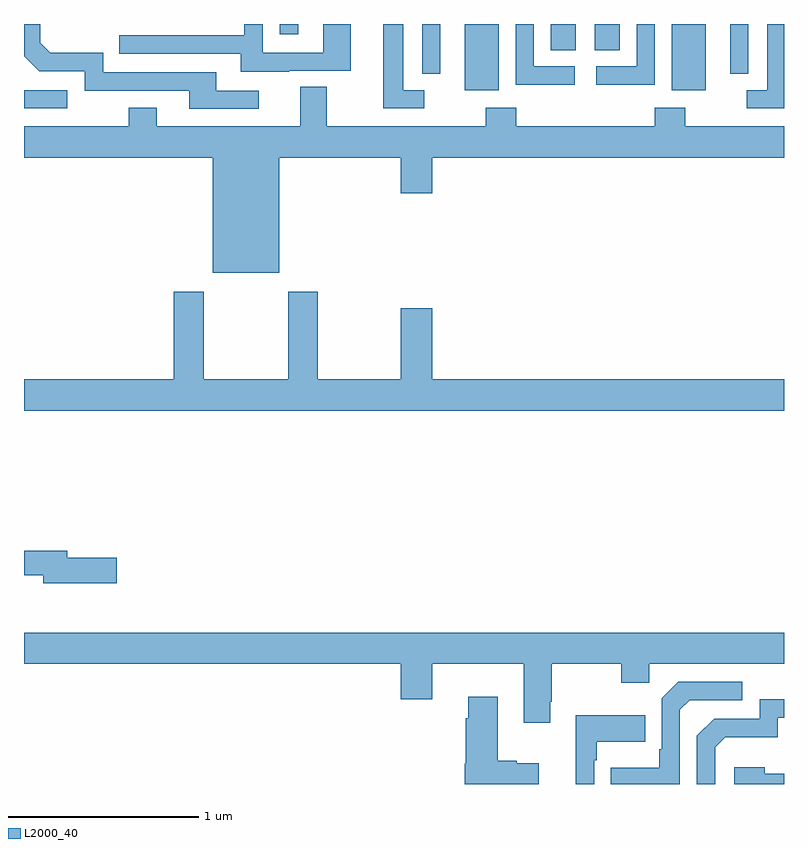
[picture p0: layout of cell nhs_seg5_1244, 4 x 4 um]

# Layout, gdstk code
import gdstk
lib = gdstk.Library(unit=1e-6, precision=1e-09)
def R(c, l, rs):  # rectangles x0, y0, x1, y1
    for r in rs: c.add(gdstk.rectangle(r[:2], r[2:], *l))
def P(c, l, *ps):  # polygons
    for p in ps: c.add(gdstk.Polygon(p, *l))
L2000_40 = (2000, 40)

nhs_seg5_1244 = lib.new_cell('nhs_seg5_1244')
R(nhs_seg5_1244, L2000_40, [(187,854.355,187.228,854.451), (189.32,854.45,189.499,854.799), (190.409,854.45,190.588,854.799), (189.773,854.662,189.904,854.799), (190.004,854.662,190.135,854.799), (188.346,854.745,188.443,854.799)])
P(nhs_seg5_1244, L2000_40, [(189.106,854.451),(188.995,854.451),(188.995,854.799),(188.891,854.799),(188.891,854.355),(189.106,854.355)],
  [(189.192,854.69),(189.191,854.69),(189.191,854.799),(189.096,854.799),(189.096,854.536),(189.192,854.536)],
  [(188.395,854.553),(188.719,854.553),(188.719,854.799),(188.574,854.799),(188.574,854.649),(188.256,854.649),(188.256,854.799),(188.16,854.799),(188.16,854.739),(187.501,854.739),(187.501,854.643),(188.141,854.643),(188.141,854.549),(188.395,854.549)],
  [(190.812,854.799),(190.718,854.799),(190.718,854.69),(190.716,854.69),(190.716,854.536),(190.812,854.536)],
  [(190.32,854.799),(190.224,854.799),(190.224,854.577),(190.011,854.577),(190.011,854.479),(190.32,854.479)],
  [(189.898,854.577),(189.684,854.577),(189.684,854.799),(189.588,854.799),(189.588,854.479),(189.898,854.479)],
  [(188.236,854.448),(188.011,854.448),(188.011,854.544),(187.416,854.544),(187.416,854.647),(187.139,854.647),(187.086,854.7),(187.086,854.799),(187,854.799),(187,854.63),(187.08,854.55),(187.32,854.55),(187.32,854.448),(187.871,854.448),(187.871,854.352),(188.236,854.352)],
  [(191,854.799),(190.913,854.799),(190.913,854.451),(190.803,854.451),(190.803,854.355),(191,854.355)],
  [(188.344,854.096),(188.984,854.096),(188.984,853.908),(189.148,853.908),(189.148,854.096),(191,854.096),(191,854.26),(190.479,854.26),(190.479,854.359),(190.319,854.359),(190.319,854.26),(189.59,854.26),(189.59,854.359),(189.43,854.359),(189.43,854.26),(188.593,854.26),(188.593,854.468),(188.453,854.468),(188.453,854.26),(187.699,854.26),(187.699,854.359),(187.552,854.359),(187.552,854.26),(187,854.26),(187,854.096),(187.994,854.096),(187.994,853.49),(188.344,853.49)],
  [(191,852.928),(189.148,852.928),(189.148,853.303),(188.984,853.303),(188.984,852.928),(188.547,852.928),(188.547,853.39),(188.392,853.39),(188.392,852.928),(187.947,852.928),(187.947,853.39),(187.787,853.39),(187.787,852.928),(187,852.928),(187,852.764),(191,852.764)],
  [(187.489,851.99),(187.228,851.99),(187.228,852.026),(187,852.026),(187,851.898),(187.1,851.898),(187.1,851.855),(187.489,851.855)],
  [(189.769,851.233),(189.777,851.233),(189.777,851.432),(190.144,851.432),(190.144,851.333),(190.29,851.333),(190.29,851.432),(191,851.432),(191,851.596),(187,851.596),(187,851.432),(188.984,851.432),(188.984,851.244),(189.148,851.244),(189.148,851.432),(189.629,851.432),(189.629,851.121),(189.769,851.121)],
  [(190.452,851.19),(190.503,851.241),(190.78,851.241),(190.78,851.337),(190.443,851.337),(190.356,851.25),(190.356,850.981),(190.344,850.981),(190.344,850.885),(190.087,850.885),(190.087,850.799),(190.452,850.799)],
  [(189.709,850.909),(189.593,850.909),(189.593,850.922),(189.493,850.922),(189.493,851.257),(189.338,851.257),(189.338,851.144),(189.326,851.144),(189.326,850.905),(189.32,850.905),(189.32,850.799),(189.709,850.799)],
  [(190.638,850.992),(190.691,851.045),(190.968,851.045),(190.968,851.148),(191,851.148),(191,851.244),(190.872,851.244),(190.872,851.142),(190.632,851.142),(190.542,851.052),(190.542,850.799),(190.638,850.799)],
  [(190.002,850.925),(190.015,850.925),(190.015,851.021),(190.271,851.021),(190.271,851.161),(189.905,851.161),(189.905,850.799),(190.002,850.799)],
  [(191,850.854),(190.898,850.854),(190.898,850.888),(190.737,850.888),(190.737,850.799),(191,850.799)])

lib.write_gds('nhs_seg5_1244.gds')
